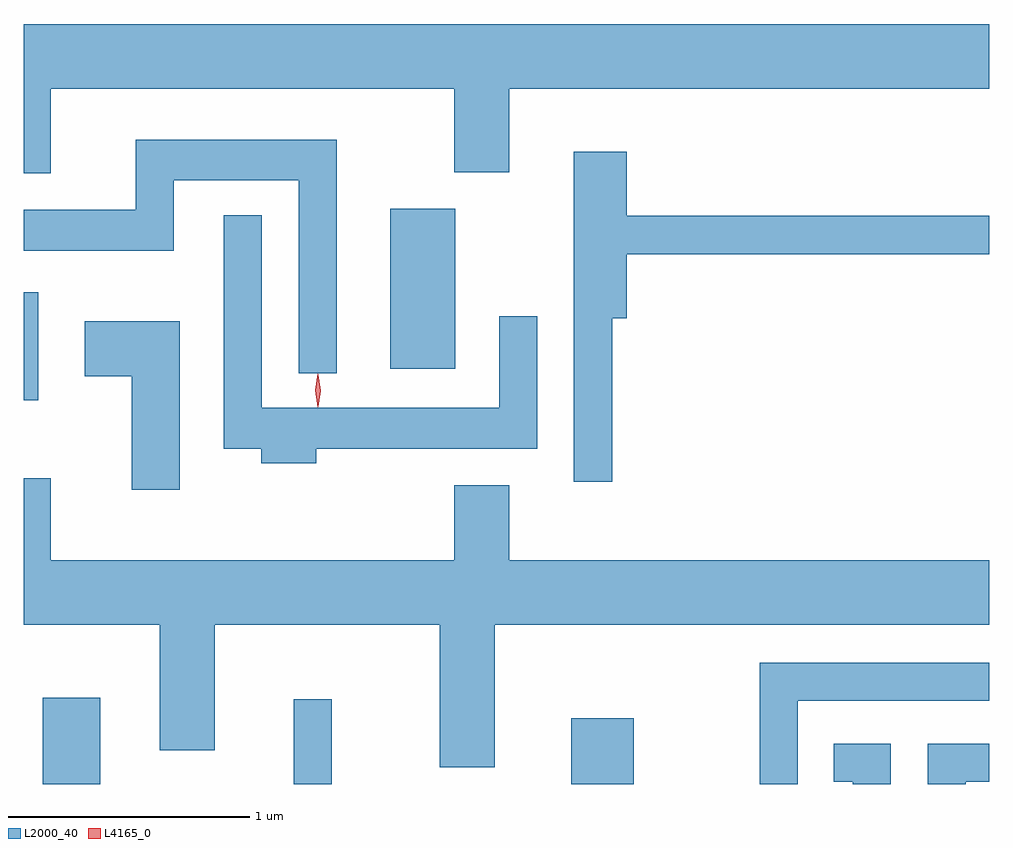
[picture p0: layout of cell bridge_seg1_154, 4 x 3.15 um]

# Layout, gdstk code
import gdstk
lib = gdstk.Library(unit=1e-6, precision=1e-09)
def R(c, l, rs):  # rectangles x0, y0, x1, y1
    for r in rs: c.add(gdstk.rectangle(r[:2], r[2:], *l))
def P(c, l, *ps):  # polygons
    for p in ps: c.add(gdstk.Polygon(p, *l))
L2000_40 = (2000, 40)
L4165_0 = (4165, 0)

bridge_seg1_154 = lib.new_cell('bridge_seg1_154')
R(bridge_seg1_154, L2000_40, [(899.796,961.077,900.034,961.434), (900.836,961.077,900.994,961.428), (901.986,961.077,902.244,961.349), (899.717,962.666,899.779,963.114), (901.236,962.796,901.504,963.459)])
P(bridge_seg1_154, L2000_40, [(899.829,963.956),(901.501,963.956),(901.501,963.611),(901.729,963.611),(901.729,963.956),(903.717,963.956),(903.717,964.224),(899.717,964.224),(899.717,963.606),(899.829,963.606)],
  [(901.014,963.744),(900.181,963.744),(900.181,963.454),(899.717,963.454),(899.717,963.286),(900.339,963.286),(900.339,963.576),(900.856,963.576),(900.856,962.778),(901.014,962.778)],
  [(902.154,963.006),(902.214,963.006),(902.214,963.271),(903.717,963.271),(903.717,963.429),(902.214,963.429),(902.214,963.694),(901.996,963.694),(901.996,962.328),(902.154,962.328)],
  [(900.929,962.466),(901.844,962.466),(901.844,963.013),(901.686,963.013),(901.686,962.634),(900.704,962.634),(900.704,963.433),(900.546,963.433),(900.546,962.466),(900.701,962.466),(900.701,962.406),(900.929,962.406)],
  [(900.364,962.994),(899.971,962.994),(899.971,962.766),(900.166,962.766),(900.166,962.296),(900.364,962.296)],
  [(901.669,961.736),(903.717,961.736),(903.717,962.004),(901.729,962.004),(901.729,962.314),(901.501,962.314),(901.501,962.004),(899.829,962.004),(899.829,962.344),(899.717,962.344),(899.717,961.736),(900.281,961.736),(900.281,961.216),(900.509,961.216),(900.509,961.736),(901.441,961.736),(901.441,961.146),(901.669,961.146)],
  [(902.924,961.421),(903.717,961.421),(903.717,961.579),(902.766,961.579),(902.766,961.077),(902.924,961.077)],
  [(903.309,961.244),(903.073,961.244),(903.073,961.086),(903.151,961.086),(903.151,961.077),(903.309,961.077)],
  [(903.619,961.086),(903.717,961.086),(903.717,961.244),(903.461,961.244),(903.461,961.077),(903.619,961.077)])
P(bridge_seg1_154, L4165_0, [(900.935,962.637),(900.926,962.707),(900.935,962.776),(900.936,962.776),(900.936,962.776),(900.945,962.707),(900.936,962.637),(900.936,962.637)],
  [(900.937,962.639),(900.936,962.64),(900.927,962.706),(900.936,962.772),(900.937,962.773),(900.937,962.772),(900.947,962.706),(900.937,962.64)])

lib.write_gds('bridge_seg1_154.gds')
